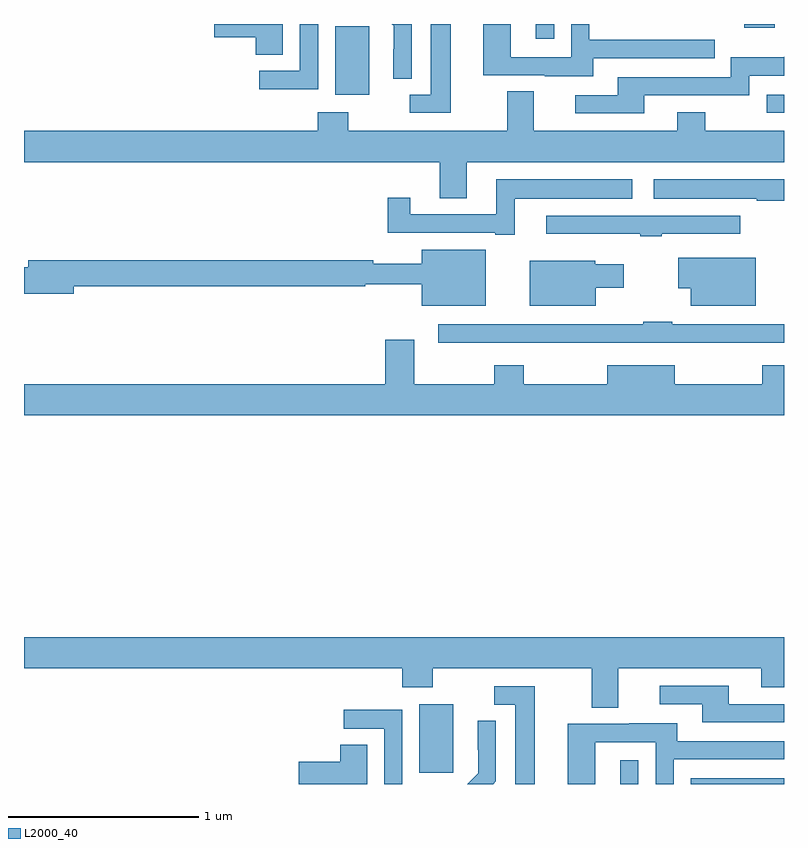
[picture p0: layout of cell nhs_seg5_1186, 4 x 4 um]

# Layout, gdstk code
import gdstk
lib = gdstk.Library(unit=1e-6, precision=1e-09)
def R(c, l, rs):  # rectangles x0, y0, x1, y1
    for r in rs: c.add(gdstk.rectangle(r[:2], r[2:], *l))
def P(c, l, *ps):  # polygons
    for p in ps: c.add(gdstk.Polygon(p, *l))
L2000_40 = (2000, 40)

nhs_seg5_1186 = lib.new_cell('nhs_seg5_1186')
R(nhs_seg5_1186, L2000_40, [(186.137,874.799,186.234,874.924), (186.51,874.799,187,874.83), (185.081,874.857,185.26,875.218), (186.909,878.331,187,878.427), (184.637,878.426,184.816,878.787), (185.693,878.721,185.79,878.799), (186.791,878.78,186.952,878.799)])
P(nhs_seg5_1186, L2000_40, [(185.245,878.799),(185.141,878.799),(185.141,878.427),(185.031,878.427),(185.031,878.331),(185.245,878.331)],
  [(185.995,878.619),(186.635,878.619),(186.635,878.715),(185.976,878.715),(185.976,878.799),(185.88,878.799),(185.88,878.625),(185.562,878.625),(185.562,878.799),(185.417,878.799),(185.417,878.529),(185.741,878.529),(185.741,878.525),(185.995,878.525)],
  [(184.363,878.799),(184.002,878.799),(184.002,878.729),(184.22,878.729),(184.22,878.638),(184.363,878.638)],
  [(185.04,878.799),(184.936,878.799),(184.946,878.789),(184.946,878.666),(184.944,878.666),(184.944,878.512),(185.04,878.512)],
  [(184.548,878.799),(184.452,878.799),(184.452,878.553),(184.239,878.553),(184.239,878.455),(184.548,878.455)],
  [(186.265,878.424),(186.816,878.424),(186.816,878.526),(187,878.526),(187,878.626),(186.997,878.623),(186.72,878.623),(186.72,878.52),(186.125,878.52),(186.125,878.424),(185.901,878.424),(185.901,878.328),(186.265,878.328)],
  [(185.329,878.072),(187,878.072),(187,878.236),(186.585,878.236),(186.585,878.335),(186.437,878.335),(186.437,878.236),(185.683,878.236),(185.683,878.444),(185.543,878.444),(185.543,878.236),(184.707,878.236),(184.707,878.335),(184.547,878.335),(184.547,878.236),(183,878.236),(183,878.072),(185.189,878.072),(185.189,877.882),(185.329,877.882)],
  [(187,877.981),(186.315,877.981),(186.315,877.88),(186.856,877.88),(186.856,877.87),(187,877.87)],
  [(185.584,877.88),(186.202,877.88),(186.202,877.981),(185.486,877.981),(185.486,877.797),(185.032,877.797),(185.032,877.885),(184.915,877.885),(184.915,877.701),(185.48,877.701),(185.48,877.689),(185.584,877.689)],
  [(186.356,877.695),(186.769,877.695),(186.769,877.791),(185.748,877.791),(185.748,877.694),(186.244,877.694),(186.244,877.683),(186.356,877.683)],
  [(185.431,877.612),(185.093,877.612),(185.093,877.537),(184.838,877.537),(184.838,877.556),(183.023,877.556),(183.023,877.52),(183,877.52),(183,877.378),(183.262,877.378),(183.262,877.42),(184.797,877.42),(184.797,877.428),(185.093,877.428),(185.093,877.316),(185.431,877.316)],
  [(186.85,877.57),(186.444,877.57),(186.444,877.409),(186.509,877.409),(186.509,877.316),(186.85,877.316)],
  [(186.01,877.412),(186.157,877.412),(186.157,877.534),(186.006,877.534),(186.006,877.552),(185.663,877.552),(185.663,877.316),(186.01,877.316)],
  [(185.975,877.122),(186.52,877.122),(186.52,877.121),(186.797,877.121),(186.797,877.122),(187,877.122),(187,877.218),(186.413,877.218),(186.413,877.231),(186.26,877.231),(186.26,877.22),(186.106,877.22),(186.106,877.218),(185.181,877.218),(185.181,877.122),(185.719,877.122),(185.719,877.121),(185.975,877.121)],
  [(187,877.003),(186.886,877.003),(186.886,876.904),(186.424,876.904),(186.424,877.003),(186.071,877.003),(186.071,876.904),(185.631,876.904),(185.631,877.003),(185.476,877.003),(185.476,876.904),(185.053,876.904),(185.053,877.138),(184.901,877.138),(184.901,876.904),(183,876.904),(183,876.74),(187,876.74)],
  [(186.127,875.408),(186.881,875.408),(186.881,875.309),(187,875.309),(187,875.572),(183,875.572),(183,875.408),(184.991,875.408),(184.991,875.309),(185.151,875.309),(185.151,875.408),(185.987,875.408),(185.987,875.2),(186.127,875.2)],
  [(187,875.22),(186.709,875.22),(186.709,875.316),(186.345,875.316),(186.345,875.22),(186.569,875.22),(186.569,875.124),(187,875.124)],
  [(185.689,875.313),(185.475,875.313),(185.475,875.217),(185.585,875.217),(185.585,874.799),(185.689,874.799)],
  [(184.992,875.19),(184.683,875.19),(184.683,875.091),(184.896,875.091),(184.896,874.799),(184.992,874.799)],
  [(185.484,874.814),(185.484,875.132),(185.388,875.132),(185.388,874.978),(185.39,874.978),(185.39,874.856),(185.333,874.799),(185.469,874.799)],
  [(186.006,875.019),(186.324,875.019),(186.324,874.799),(186.42,874.799),(186.42,874.929),(187,874.929),(187,875.025),(186.439,875.025),(186.439,875.119),(186.185,875.119),(186.185,875.115),(185.861,875.115),(185.861,874.799),(186.006,874.799)],
  [(184.807,875.006),(184.664,875.006),(184.664,874.916),(184.446,874.916),(184.446,874.799),(184.807,874.799)])

lib.write_gds('nhs_seg5_1186.gds')
